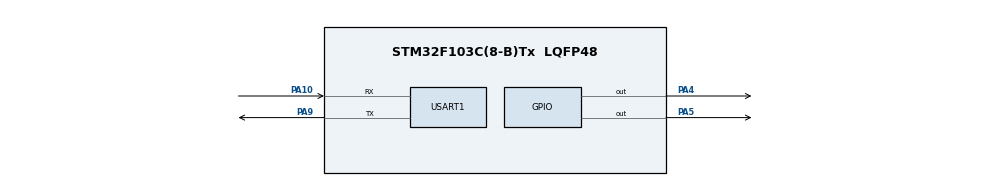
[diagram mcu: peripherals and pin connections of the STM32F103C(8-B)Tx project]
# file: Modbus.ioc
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Mcu.Family=STM32F1
Mcu.Name=STM32F103C(8-B)Tx
Mcu.Package=LQFP48
NVIC.PriorityGroup=NVIC_PRIORITYGROUP_4
PA10.Mode=Asynchronous
PA10.Signal=USART1_RX
PA13.Mode=Serial_Wire
PA13.Signal=SYS_JTMS-SWDIO
PA14.Mode=Serial_Wire
PA14.Signal=SYS_JTCK-SWCLK
PA4.Signal=GPIO_Output
PA5.Signal=GPIO_Output
PA9.Mode=Asynchronous
PA9.Signal=USART1_TX
ProjectManager.HeapSize=0x200
ProjectManager.StackSize=0x400
ProjectManager.TargetToolchain=STM32CubeIDE
RCC.APB1Freq_Value=8000000
RCC.APB2Freq_Value=8000000
USART1.VirtualMode=VM_ASYNC
board=custom

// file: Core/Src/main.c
/* USER CODE BEGIN Header */
/**
  ******************************************************************************
  * @file           : main.c
  * @brief          : Main program body
  ******************************************************************************
  * @attention
  *
  * Copyright (c) 2025 STMicroelectronics.
  * All rights reserved.
  *
  * This software is licensed under terms that can be found in the LICENSE file
  * in the root directory of this software component.
  * If no LICENSE file comes with this software, it is provided AS-IS.
  *
  ******************************************************************************
  */
/* USER CODE END Header */
#include "main.h"

/* USER CODE BEGIN Includes */
#include <string.h>
/* USER CODE END Includes */

/* USER CODE BEGIN PD */
uint8_t rxBuffer[8];

/* USER CODE END PD */

UART_HandleTypeDef huart1;

void SystemClock_Config(void);
static void MX_GPIO_Init(void);
static void MX_USART1_UART_Init(void);
/* USER CODE BEGIN PFP */
#include <string.h>

uint8_t rxBuffer[8];

// CRC16 Modbus (little-endian)
uint16_t Modbus_CRC16(uint8_t *buf, uint8_t len) {
  uint16_t crc = 0xFFFF;
  for (int pos = 0; pos < len; pos++) {
    crc ^= buf[pos];
    for (int i = 0; i < 8; i++) {
      if ((crc & 0x0001) != 0) {
        crc >>= 1;
        crc ^= 0xA001;
      } else {
        crc >>= 1;
      }
    }
  }
  return crc;
}

void sendModbusEchoResponse(uint8_t *request) {
  HAL_UART_Transmit(&huart1, request, 8, 100);
}

/* USER CODE END PFP */

int main(void)
{

  /* MCU Configuration--------------------------------------------------------*/

  /* Reset of all peripherals, Initializes the Flash interface and the Systick. */
  HAL_Init();

  /* Configure the system clock */
  SystemClock_Config();

  /* Initialize all configured peripherals */
  MX_GPIO_Init();
  MX_USART1_UART_Init();

  /* Infinite loop */
  while (1)
  {

    /* USER CODE BEGIN 3 */
	  {
	    if (HAL_UART_Receive(&huart1, rxBuffer, 8, 1000) == HAL_OK)
	    {
	      uint16_t crc_calc = Modbus_CRC16(rxBuffer, 6);
	      uint16_t crc_recv = (rxBuffer[7] << 8) | rxBuffer[6];

	      if (crc_calc == crc_recv && rxBuffer[0] == 0x01 && rxBuffer[1] == 0x05)
	      {
	        uint16_t addr = (rxBuffer[2] << 8) | rxBuffer[3];
	        uint16_t val  = (rxBuffer[4] << 8) | rxBuffer[5];

	        if (addr == 0x0000) {
	          HAL_GPIO_WritePin(GPIOA, GPIO_PIN_4, val == 0xFF00 ? GPIO_PIN_SET : GPIO_PIN_RESET);
	        } else if (addr == 0x0001) {
	          HAL_GPIO_WritePin(GPIOA, GPIO_PIN_5, val == 0xFF00 ? GPIO_PIN_SET : GPIO_PIN_RESET);
	        }

	        sendModbusEchoResponse(rxBuffer); // Gửi phản hồi lại theo tiêu chuẩn
	      }
	    }
	  }
  }
  /* USER CODE END 3 */
}

void SystemClock_Config(void)
{
  RCC_OscInitTypeDef RCC_OscInitStruct = {0};
  RCC_ClkInitTypeDef RCC_ClkInitStruct = {0};

  /** Initializes the RCC Oscillators according to the specified parameters
  * in the RCC_OscInitTypeDef structure.
  */
  RCC_OscInitStruct.OscillatorType = RCC_OSCILLATORTYPE_HSI;
  RCC_OscInitStruct.HSIState = RCC_HSI_ON;
  RCC_OscInitStruct.HSICalibrationValue = RCC_HSICALIBRATION_DEFAULT;
  RCC_OscInitStruct.PLL.PLLState = RCC_PLL_NONE;
  if (HAL_RCC_OscConfig(&RCC_OscInitStruct) != HAL_OK)
  {
    Error_Handler();
  }

  /** Initializes the CPU, AHB and APB buses clocks
  */
  RCC_ClkInitStruct.ClockType = RCC_CLOCKTYPE_HCLK|RCC_CLOCKTYPE_SYSCLK
                              |RCC_CLOCKTYPE_PCLK1|RCC_CLOCKTYPE_PCLK2;
  RCC_ClkInitStruct.SYSCLKSource = RCC_SYSCLKSOURCE_HSI;
  RCC_ClkInitStruct.AHBCLKDivider = RCC_SYSCLK_DIV1;
  RCC_ClkInitStruct.APB1CLKDivider = RCC_HCLK_DIV1;
  RCC_ClkInitStruct.APB2CLKDivider = RCC_HCLK_DIV1;

  if (HAL_RCC_ClockConfig(&RCC_ClkInitStruct, FLASH_LATENCY_0) != HAL_OK)
  {
    Error_Handler();
  }
}

static void MX_USART1_UART_Init(void)
{

  huart1.Instance = USART1;
  huart1.Init.BaudRate = 115200;
  huart1.Init.WordLength = UART_WORDLENGTH_8B;
  huart1.Init.StopBits = UART_STOPBITS_1;
  huart1.Init.Parity = UART_PARITY_NONE;
  huart1.Init.Mode = UART_MODE_TX_RX;
  huart1.Init.HwFlowCtl = UART_HWCONTROL_NONE;
  huart1.Init.OverSampling = UART_OVERSAMPLING_16;
  if (HAL_UART_Init(&huart1) != HAL_OK)
  {
    Error_Handler();
  }

}

static void MX_GPIO_Init(void)
{
  GPIO_InitTypeDef GPIO_InitStruct = {0};

  /* GPIO Ports Clock Enable */
  __HAL_RCC_GPIOA_CLK_ENABLE();

  /*Configure GPIO pin Output Level */
  HAL_GPIO_WritePin(GPIOA, GPIO_PIN_4|GPIO_PIN_5, GPIO_PIN_RESET);

  /*Configure GPIO pins : PA4 PA5 */
  GPIO_InitStruct.Pin = GPIO_PIN_4|GPIO_PIN_5;
  GPIO_InitStruct.Mode = GPIO_MODE_OUTPUT_PP;
  GPIO_InitStruct.Pull = GPIO_NOPULL;
  GPIO_InitStruct.Speed = GPIO_SPEED_FREQ_LOW;
  HAL_GPIO_Init(GPIOA, &GPIO_InitStruct);

}

void Error_Handler(void)
{
  __disable_irq();
  while (1)
  {
  }
}
